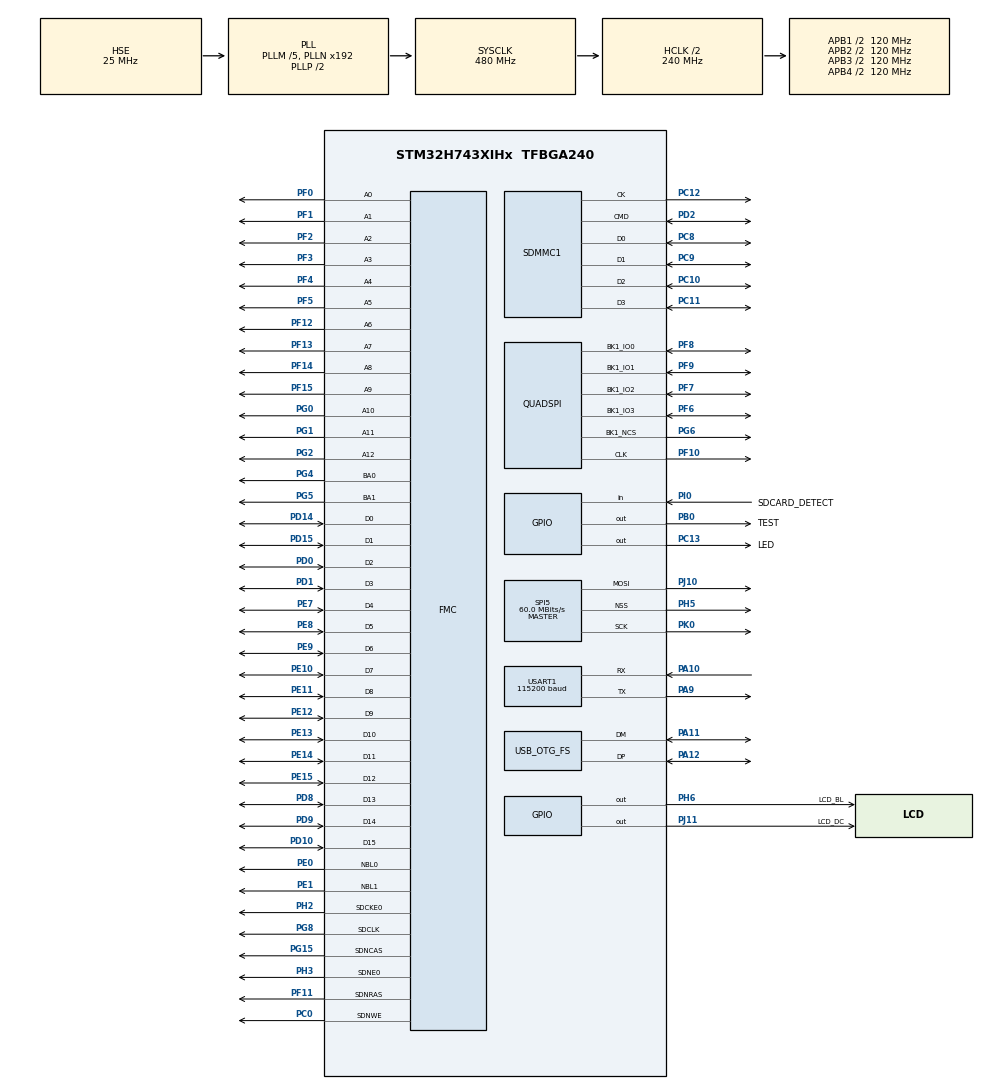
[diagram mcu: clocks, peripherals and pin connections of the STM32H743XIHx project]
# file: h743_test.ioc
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CORTEX_M7.CPU_DCache=Enabled
CORTEX_M7.CPU_ICache=Enabled
Dma.Request0=SPI5_TX
Dma.Request1=USART1_TX
Dma.SPI5_TX.0.Direction=DMA_MEMORY_TO_PERIPH
Dma.SPI5_TX.0.EventEnable=DISABLE
Dma.SPI5_TX.0.FIFOMode=DMA_FIFOMODE_DISABLE
Dma.SPI5_TX.0.Instance=DMA1_Stream0
Dma.SPI5_TX.0.MemDataAlignment=DMA_MDATAALIGN_HALFWORD
Dma.SPI5_TX.0.MemInc=DMA_MINC_ENABLE
Dma.SPI5_TX.0.Mode=DMA_NORMAL
Dma.SPI5_TX.0.PeriphDataAlignment=DMA_PDATAALIGN_HALFWORD
Dma.SPI5_TX.0.PeriphInc=DMA_PINC_DISABLE
Dma.SPI5_TX.0.Polarity=HAL_DMAMUX_REQ_GEN_RISING
Dma.SPI5_TX.0.Priority=DMA_PRIORITY_HIGH
Dma.SPI5_TX.0.RequestNumber=1
Dma.SPI5_TX.0.SignalID=NONE
Dma.SPI5_TX.0.SyncEnable=DISABLE
Dma.SPI5_TX.0.SyncPolarity=HAL_DMAMUX_SYNC_NO_EVENT
Dma.SPI5_TX.0.SyncRequestNumber=1
Dma.SPI5_TX.0.SyncSignalID=NONE
Dma.USART1_TX.1.Direction=DMA_MEMORY_TO_PERIPH
Dma.USART1_TX.1.EventEnable=DISABLE
Dma.USART1_TX.1.FIFOMode=DMA_FIFOMODE_DISABLE
Dma.USART1_TX.1.Instance=DMA1_Stream1
Dma.USART1_TX.1.MemDataAlignment=DMA_MDATAALIGN_BYTE
Dma.USART1_TX.1.MemInc=DMA_MINC_ENABLE
Dma.USART1_TX.1.Mode=DMA_NORMAL
Dma.USART1_TX.1.PeriphDataAlignment=DMA_PDATAALIGN_BYTE
Dma.USART1_TX.1.PeriphInc=DMA_PINC_DISABLE
Dma.USART1_TX.1.Polarity=HAL_DMAMUX_REQ_GEN_RISING
Dma.USART1_TX.1.Priority=DMA_PRIORITY_LOW
Dma.USART1_TX.1.RequestNumber=1
Dma.USART1_TX.1.SignalID=NONE
Dma.USART1_TX.1.SyncEnable=DISABLE
Dma.USART1_TX.1.SyncPolarity=HAL_DMAMUX_SYNC_NO_EVENT
Dma.USART1_TX.1.SyncRequestNumber=1
Dma.USART1_TX.1.SyncSignalID=NONE
FATFS.BSP.number=1
FATFS.USE_DMA_CODE_SD=1
FATFS0.BSP.STBoard=false
FATFS0.BSP.api=Unknown
FATFS0.BSP.instance=PI0
FATFS0.BSP.ip=GPIO
FATFS0.BSP.mode=Input
FATFS0.BSP.name=Detect_SDIO
FATFS0.BSP.solution=PI0
FMC.CASLatency1=FMC_SDRAM_CAS_LATENCY_3
FMC.ColumnBitsNumber1=FMC_SDRAM_COLUMN_BITS_NUM_9
FMC.ExitSelfRefreshDelay1=7
FMC.LoadToActiveDelay1=2
FMC.RCDDelay1=2
FMC.RPDelay1=2
FMC.RPDelay2=2
FMC.ReadBurst1=FMC_SDRAM_RBURST_ENABLE
FMC.ReadBurst2=FMC_SDRAM_RBURST_ENABLE
FMC.ReadPipeDelay1=FMC_SDRAM_RPIPE_DELAY_1
FMC.ReadPipeDelay2=FMC_SDRAM_RPIPE_DELAY_1
FMC.RowCycleDelay1=7
FMC.RowCycleDelay2=7
FMC.SDClockPeriod1=FMC_SDRAM_CLOCK_PERIOD_2
FMC.SDClockPeriod2=FMC_SDRAM_CLOCK_PERIOD_2
FMC.SelfRefreshTime1=4
FMC.WriteRecoveryTime1=3
FREERTOS.Tasks01=defaultTask,24,128,StartDefaultTask,Default,NULL,Dynamic,NULL,NULL;myTask0,8,2048,StartTask0,Default,NULL,Dynamic,NULL,NULL
FREERTOS.configUSE_NEWLIB_REENTRANT=0
FREERTOS.configUSE_TICK_HOOK=1
Mcu.Family=STM32H7
Mcu.Name=STM32H743XIHx
Mcu.Package=TFBGA240
NVIC.DMA1_Stream0_IRQn=true\:5\:0\:false\:false\:true\:true\:false\:true\:true
NVIC.DMA1_Stream1_IRQn=true\:5\:0\:false\:false\:true\:true\:false\:true\:true
NVIC.OTG_FS_EP1_IN_IRQn=true\:5\:0\:false\:false\:true\:true\:true\:true\:true
NVIC.OTG_FS_EP1_OUT_IRQn=true\:5\:0\:false\:false\:true\:true\:true\:true\:true
NVIC.OTG_FS_IRQn=true\:5\:0\:false\:false\:true\:true\:false\:true\:true
NVIC.PriorityGroup=NVIC_PRIORITYGROUP_4
NVIC.SDMMC1_IRQn=true\:5\:0\:false\:false\:true\:true\:true\:true\:true
NVIC.SPI5_IRQn=true\:5\:0\:false\:false\:true\:true\:true\:true\:true
NVIC.TIM1_UP_IRQn=true\:15\:0\:false\:false\:true\:false\:false\:true\:true
NVIC.TimeBase=TIM1_UP_IRQn
NVIC.TimeBaseIP=TIM1
NVIC.USART1_IRQn=true\:5\:0\:false\:false\:true\:true\:true\:true\:true
PA10.Mode=Asynchronous
PA10.Signal=USART1_RX
PA11.Mode=Device_Only
PA11.Signal=USB_OTG_FS_DM
PA12.Mode=Device_Only
PA12.Signal=USB_OTG_FS_DP
PA13\ (JTMS/SWDIO).Mode=Serial_Wire
PA13\ (JTMS/SWDIO).Signal=DEBUG_JTMS-SWDIO
PA14\ (JTCK/SWCLK).Mode=Serial_Wire
PA14\ (JTCK/SWCLK).Signal=DEBUG_JTCK-SWCLK
PA9.Mode=Asynchronous
PA9.Signal=USART1_TX
PB0.GPIO_Label=TEST
PB0.GPIO_Speed=GPIO_SPEED_FREQ_VERY_HIGH
PB0.Signal=GPIO_Output
PC0.Signal=FMC_SDNWE
PC10.Mode=SD_4_bits_Wide_bus
PC10.Signal=SDMMC1_D2
PC11.Mode=SD_4_bits_Wide_bus
PC11.Signal=SDMMC1_D3
PC12.Mode=SD_4_bits_Wide_bus
PC12.Signal=SDMMC1_CK
PC13.GPIO_Label=LED
PC13.Signal=GPIO_Output
PC14-OSC32_IN\ (OSC32_IN).Mode=LSE-External-Oscillator
PC14-OSC32_IN\ (OSC32_IN).Signal=RCC_OSC32_IN
PC15-OSC32_OUT\ (OSC32_OUT).Mode=LSE-External-Oscillator
PC15-OSC32_OUT\ (OSC32_OUT).Signal=RCC_OSC32_OUT
PC8.Mode=SD_4_bits_Wide_bus
PC8.Signal=SDMMC1_D0
PC9.Mode=SD_4_bits_Wide_bus
PC9.Signal=SDMMC1_D1
PD0.Signal=FMC_D2_DA2
PD1.Signal=FMC_D3_DA3
PD10.Signal=FMC_D15_DA15
PD14.Signal=FMC_D0_DA0
PD15.Signal=FMC_D1_DA1
PD2.Mode=SD_4_bits_Wide_bus
PD2.Signal=SDMMC1_CMD
PD8.Signal=FMC_D13_DA13
PD9.Signal=FMC_D14_DA14
PE0.Signal=FMC_NBL0
PE1.Signal=FMC_NBL1
PE10.Signal=FMC_D7_DA7
PE11.Signal=FMC_D8_DA8
PE12.Signal=FMC_D9_DA9
PE13.Signal=FMC_D10_DA10
PE14.Signal=FMC_D11_DA11
PE15.Signal=FMC_D12_DA12
PE7.Signal=FMC_D4_DA4
PE8.Signal=FMC_D5_DA5
PE9.Signal=FMC_D6_DA6
PF0.Signal=FMC_A0
PF1.Signal=FMC_A1
PF10.GPIO_Speed=GPIO_SPEED_FREQ_VERY_HIGH
PF10.Mode=Single Bank 1
PF10.Signal=QUADSPI_CLK
PF11.Signal=FMC_SDNRAS
PF12.Signal=FMC_A6
PF13.Signal=FMC_A7
PF14.Signal=FMC_A8
PF15.Signal=FMC_A9
PF2.Signal=FMC_A2
PF3.Signal=FMC_A3
PF4.Signal=FMC_A4
PF5.Signal=FMC_A5
PF6.GPIO_Speed=GPIO_SPEED_FREQ_VERY_HIGH
PF6.Mode=Single Bank 1
PF6.Signal=QUADSPI_BK1_IO3
PF7.GPIO_Speed=GPIO_SPEED_FREQ_VERY_HIGH
PF7.Mode=Single Bank 1
PF7.Signal=QUADSPI_BK1_IO2
PF8.GPIO_Speed=GPIO_SPEED_FREQ_VERY_HIGH
PF8.Mode=Single Bank 1
PF8.Signal=QUADSPI_BK1_IO0
PF9.GPIO_Speed=GPIO_SPEED_FREQ_VERY_HIGH
PF9.Mode=Single Bank 1
PF9.Signal=QUADSPI_BK1_IO1
PG0.Signal=FMC_A10
PG1.Signal=FMC_A11
PG15.Signal=FMC_SDNCAS
PG2.Signal=FMC_A12
PG4.Signal=FMC_A14_BA0
PG5.Signal=FMC_A15_BA1
PG6.GPIO_Speed=GPIO_SPEED_FREQ_VERY_HIGH
PG6.Mode=Single Bank 1
PG6.Signal=QUADSPI_BK1_NCS
PG8.Signal=FMC_SDCLK
PH0-OSC_IN\ (PH0).Mode=HSE-External-Oscillator
PH0-OSC_IN\ (PH0).Signal=RCC_OSC_IN
PH1-OSC_OUT\ (PH1).Mode=HSE-External-Oscillator
PH1-OSC_OUT\ (PH1).Signal=RCC_OSC_OUT
PH2.Mode=SdramChipSelect1_1
PH2.Signal=FMC_SDCKE0
PH3.Mode=SdramChipSelect1_1
PH3.Signal=FMC_SDNE0
PH5.GPIO_Speed=GPIO_SPEED_FREQ_VERY_HIGH
PH5.Mode=NSS_Signal_Hard_Output
PH5.Signal=SPI5_NSS
PH6.GPIO_Label=LCD_BL
PH6.Signal=GPIO_Output
PI0.GPIO_Label=SDCARD_DETECT
PI0.GPIO_PuPd=GPIO_PULLDOWN
PI0.Signal=GPIO_Input
PJ10.GPIO_Speed=GPIO_SPEED_FREQ_VERY_HIGH
PJ10.Mode=TX_Only_Simplex_Unidirect_Master
PJ10.Signal=SPI5_MOSI
PJ11.GPIO_Label=LCD_DC
PJ11.Signal=GPIO_Output
PK0.GPIO_Speed=GPIO_SPEED_FREQ_VERY_HIGH
PK0.Mode=TX_Only_Simplex_Unidirect_Master
PK0.Signal=SPI5_SCK
ProjectManager.HeapSize=0x200
ProjectManager.StackSize=0x400
ProjectManager.TargetToolchain=MDK-ARM V5.32
QUADSPI.ClockMode=QSPI_CLOCK_MODE_3
QUADSPI.ClockPrescaler=1
QUADSPI.FifoThreshold=32
QUADSPI.FlashSize=22
QUADSPI.SampleShifting=QSPI_SAMPLE_SHIFTING_HALFCYCLE
RCC.ADCFreq_Value=50390625
RCC.APB1Freq_Value=120000000
RCC.APB2Freq_Value=120000000
RCC.APB3Freq_Value=120000000
RCC.APB4Freq_Value=120000000
RCC.CortexFreq_Value=480000000
RCC.D1PPRE=RCC_APB3_DIV2
RCC.D2PPRE1=RCC_APB1_DIV2
RCC.D2PPRE2=RCC_APB2_DIV2
RCC.D3PPRE=RCC_APB4_DIV2
RCC.DIVM1=5
RCC.DIVN1=192
RCC.DIVQ1=4
RCC.HCLKFreq_Value=240000000
RCC.HPRE=RCC_HCLK_DIV2
RCC.PLL2FRACN=0
RCC.PLL3FRACN=0
RCC.PLLFRACN=0
RCC.PLLSourceVirtual=RCC_PLLSOURCE_HSE
RCC.SYSCLKFreq_VALUE=480000000
RCC.SYSCLKSource=RCC_SYSCLKSOURCE_PLLCLK
RCC.USBCLockSelection=RCC_USBCLKSOURCE_HSI48
RCC.USBFreq_Value=48000000
RTC.Date=16
RTC.Hours=11
RTC.Minutes=10
RTC.Month=RTC_MONTH_AUGUST
RTC.Seconds=30
RTC.WeekDay=RTC_WEEKDAY_THURSDAY
RTC.Year=18
SDMMC1.ClockDiv=1
SH.FMC_A0.0=FMC_A0,13b-sda1
SH.FMC_A1.0=FMC_A1,13b-sda1
SH.FMC_A10.0=FMC_A10,13b-sda1
SH.FMC_A11.0=FMC_A11,13b-sda1
SH.FMC_A12.0=FMC_A12,13b-sda1
SH.FMC_A14_BA0.0=FMC_BA0,FourSdramBanks1
SH.FMC_A15_BA1.0=FMC_BA1,FourSdramBanks1
SH.FMC_A2.0=FMC_A2,13b-sda1
SH.FMC_A3.0=FMC_A3,13b-sda1
SH.FMC_A4.0=FMC_A4,13b-sda1
SH.FMC_A5.0=FMC_A5,13b-sda1
SH.FMC_A6.0=FMC_A6,13b-sda1
SH.FMC_A7.0=FMC_A7,13b-sda1
SH.FMC_A8.0=FMC_A8,13b-sda1
SH.FMC_A9.0=FMC_A9,13b-sda1
SH.FMC_D0_DA0.0=FMC_D0,sd-16b-d1
SH.FMC_D10_DA10.0=FMC_D10,sd-16b-d1
SH.FMC_D11_DA11.0=FMC_D11,sd-16b-d1
SH.FMC_D12_DA12.0=FMC_D12,sd-16b-d1
SH.FMC_D13_DA13.0=FMC_D13,sd-16b-d1
SH.FMC_D14_DA14.0=FMC_D14,sd-16b-d1
SH.FMC_D15_DA15.0=FMC_D15,sd-16b-d1
SH.FMC_D1_DA1.0=FMC_D1,sd-16b-d1
SH.FMC_D2_DA2.0=FMC_D2,sd-16b-d1
SH.FMC_D3_DA3.0=FMC_D3,sd-16b-d1
SH.FMC_D4_DA4.0=FMC_D4,sd-16b-d1
SH.FMC_D5_DA5.0=FMC_D5,sd-16b-d1
SH.FMC_D6_DA6.0=FMC_D6,sd-16b-d1
SH.FMC_D7_DA7.0=FMC_D7,sd-16b-d1
SH.FMC_D8_DA8.0=FMC_D8,sd-16b-d1
SH.FMC_D9_DA9.0=FMC_D9,sd-16b-d1
SH.FMC_NBL0.0=FMC_NBL0,Sd2ByteEnable1
SH.FMC_NBL1.0=FMC_NBL1,Sd2ByteEnable1
SH.FMC_SDCLK.0=FMC_SDCLK,13b-sda1
SH.FMC_SDNCAS.0=FMC_SDNCAS,13b-sda1
SH.FMC_SDNRAS.0=FMC_SDNRAS,13b-sda1
SH.FMC_SDNWE.0=FMC_SDNWE,13b-sda1
SPI5.BaudRatePrescaler=SPI_BAUDRATEPRESCALER_2
SPI5.CalculateBaudRate=60.0 MBits/s
SPI5.DataSize=SPI_DATASIZE_8BIT
SPI5.Direction=SPI_DIRECTION_2LINES_TXONLY
SPI5.FifoThreshold=SPI_FIFO_THRESHOLD_02DATA
SPI5.Mode=SPI_MODE_MASTER
SPI5.VirtualNSS=VM_NSSHARD
SPI5.VirtualType=VM_MASTER
USART1.BaudRate=115200
USART1.VirtualMode-Asynchronous=VM_ASYNC
USB_DEVICE.APP_RX_DATA_SIZE-CDC_FS=2048
USB_DEVICE.APP_TX_DATA_SIZE-CDC_FS=2048
USB_DEVICE.CLASS_NAME_FS=CDC
USB_DEVICE.USBD_DEBUG_LEVEL-CDC_FS=3
USB_DEVICE.USBD_MAX_NUM_CONFIGURATION-CDC_FS=1
USB_DEVICE.USBD_MAX_NUM_INTERFACES-CDC_FS=1
USB_DEVICE.VirtualMode-CDC_FS=Cdc
USB_DEVICE.VirtualModeFS=Cdc_FS
USB_OTG_FS.VirtualMode=Device_Only
VP_FATFS_VS_SDIO.Mode=SDIO
VP_FREERTOS_VS_CMSIS_V2.Mode=CMSIS_V2
VP_RTC_VS_RTC_Activate.Mode=RTC_Enabled
VP_RTC_VS_RTC_Calendar.Mode=RTC_Calendar
VP_SYS_VS_tim1.Mode=TIM1
VP_USB_DEVICE_VS_USB_DEVICE_CDC_FS.Mode=CDC_FS
board=custom

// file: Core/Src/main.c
/* USER CODE BEGIN Header */
/**
 ******************************************************************************
 * @file           : main.c
 * @brief          : Main program body
 ******************************************************************************
 * @attention
 *
 * Copyright (c) 2024 STMicroelectronics.
 * All rights reserved.
 *
 * This software is licensed under terms that can be found in the LICENSE file
 * in the root directory of this software component.
 * If no LICENSE file comes with this software, it is provided AS-IS.
 *
 ******************************************************************************
 */
/* USER CODE END Header */
#include "main.h"
#include "cmsis_os.h"
#include "dma.h"
#include "fatfs.h"
#include "quadspi.h"
#include "rtc.h"
#include "sdmmc.h"
#include "spi.h"
#include "usart.h"
#include "usb_device.h"
#include "gpio.h"
#include "fmc.h"

/* USER CODE BEGIN Includes */
#include "stdio.h"
#include "user_sdram.h"
#include "qspi_w25q64.h"
#include "lcd_spi_200.h"
#include "self_inspection.h"
#include "debug.h"
/* USER CODE END Includes */

void SystemClock_Config(void);
void MX_FREERTOS_Init(void);

int main(void)
{
/* Enable the CPU Cache */

  /* Enable I-Cache---------------------------------------------------------*/
  SCB_EnableICache();

  /* Enable D-Cache---------------------------------------------------------*/
  SCB_EnableDCache();

  /* MCU Configuration--------------------------------------------------------*/

  /* Reset of all peripherals, Initializes the Flash interface and the Systick. */
  HAL_Init();

  /* Configure the system clock */
  SystemClock_Config();

  /* Initialize all configured peripherals */
  MX_GPIO_Init();
  MX_DMA_Init();
  MX_FATFS_Init();
  MX_FMC_Init();
  MX_QUADSPI_Init();
  MX_SPI5_Init();
  MX_USART1_UART_Init();
  MX_SDMMC1_SD_Init();
  MX_RTC_Init();

  /* Init scheduler */
  osKernelInitialize();

  /* Call init function for freertos objects (in freertos.c) */
  MX_FREERTOS_Init();

  /* Start scheduler */
  osKernelStart();

  /* We should never get here as control is now taken by the scheduler */
  /* Infinite loop */
  while (1)
  {

  }
}

void SystemClock_Config(void)
{
  RCC_OscInitTypeDef RCC_OscInitStruct = {0};
  RCC_ClkInitTypeDef RCC_ClkInitStruct = {0};

  /** Supply configuration update enable
  */
  HAL_PWREx_ConfigSupply(PWR_LDO_SUPPLY);

  /** Configure the main internal regulator output voltage
  */
  __HAL_PWR_VOLTAGESCALING_CONFIG(PWR_REGULATOR_VOLTAGE_SCALE1);

  while(!__HAL_PWR_GET_FLAG(PWR_FLAG_VOSRDY)) {}

  __HAL_RCC_SYSCFG_CLK_ENABLE();
  __HAL_PWR_VOLTAGESCALING_CONFIG(PWR_REGULATOR_VOLTAGE_SCALE0);

  while(!__HAL_PWR_GET_FLAG(PWR_FLAG_VOSRDY)) {}

  /** Initializes the RCC Oscillators according to the specified parameters
  * in the RCC_OscInitTypeDef structure.
  */
  RCC_OscInitStruct.OscillatorType = RCC_OSCILLATORTYPE_HSI48|RCC_OSCILLATORTYPE_LSI
                              |RCC_OSCILLATORTYPE_HSE;
  RCC_OscInitStruct.HSEState = RCC_HSE_ON;
  RCC_OscInitStruct.LSIState = RCC_LSI_ON;
  RCC_OscInitStruct.HSI48State = RCC_HSI48_ON;
  RCC_OscInitStruct.PLL.PLLState = RCC_PLL_ON;
  RCC_OscInitStruct.PLL.PLLSource = RCC_PLLSOURCE_HSE;
  RCC_OscInitStruct.PLL.PLLM = 5;
  RCC_OscInitStruct.PLL.PLLN = 192;
  RCC_OscInitStruct.PLL.PLLP = 2;
  RCC_OscInitStruct.PLL.PLLQ = 4;
  RCC_OscInitStruct.PLL.PLLR = 2;
  RCC_OscInitStruct.PLL.PLLRGE = RCC_PLL1VCIRANGE_2;
  RCC_OscInitStruct.PLL.PLLVCOSEL = RCC_PLL1VCOWIDE;
  RCC_OscInitStruct.PLL.PLLFRACN = 0;
  if (HAL_RCC_OscConfig(&RCC_OscInitStruct) != HAL_OK)
  {
    Error_Handler();
  }

  /** Initializes the CPU, AHB and APB buses clocks
  */
  RCC_ClkInitStruct.ClockType = RCC_CLOCKTYPE_HCLK|RCC_CLOCKTYPE_SYSCLK
                              |RCC_CLOCKTYPE_PCLK1|RCC_CLOCKTYPE_PCLK2
                              |RCC_CLOCKTYPE_D3PCLK1|RCC_CLOCKTYPE_D1PCLK1;
  RCC_ClkInitStruct.SYSCLKSource = RCC_SYSCLKSOURCE_PLLCLK;
  RCC_ClkInitStruct.SYSCLKDivider = RCC_SYSCLK_DIV1;
  RCC_ClkInitStruct.AHBCLKDivider = RCC_HCLK_DIV2;
  RCC_ClkInitStruct.APB3CLKDivider = RCC_APB3_DIV2;
  RCC_ClkInitStruct.APB1CLKDivider = RCC_APB1_DIV2;
  RCC_ClkInitStruct.APB2CLKDivider = RCC_APB2_DIV2;
  RCC_ClkInitStruct.APB4CLKDivider = RCC_APB4_DIV2;

  if (HAL_RCC_ClockConfig(&RCC_ClkInitStruct, FLASH_LATENCY_4) != HAL_OK)
  {
    Error_Handler();
  }
}

/* USER CODE BEGIN 4 */

extern void disp_tx_cb(void);

void HAL_SPI_TxCpltCallback(SPI_HandleTypeDef *hspi)
{
  if (hspi->Instance == SPI5)
  {
    disp_tx_cb();
  }

}

void HAL_UART_TxCpltCallback(UART_HandleTypeDef *huart)
{
  if (huart->Instance == USART1)
  {
    debug_tx_cb();
  }
}

/* USER CODE END 4 */

void HAL_TIM_PeriodElapsedCallback(TIM_HandleTypeDef *htim)
{
  if (htim->Instance == TIM1) {
    HAL_IncTick();
  }
}

void Error_Handler(void)
{
  __disable_irq();
  while (1)
  {
  }
}

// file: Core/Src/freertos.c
/* USER CODE BEGIN Header */
/**
 ******************************************************************************
 * File Name          : freertos.c
 * Description        : Code for freertos applications
 ******************************************************************************
 * @attention
 *
 * Copyright (c) 2024 STMicroelectronics.
 * All rights reserved.
 *
 * This software is licensed under terms that can be found in the LICENSE file
 * in the root directory of this software component.
 * If no LICENSE file comes with this software, it is provided AS-IS.
 *
 ******************************************************************************
 */
/* USER CODE END Header */

#include "FreeRTOS.h"
#include "task.h"
#include "main.h"
#include "cmsis_os.h"

/* USER CODE BEGIN Includes */
#include "stdio.h"
#include "fatfs.h"
#include "lvgl.h"
#include "usbd_cdc_if.h"
#include "fmc.h"
#include "debug.h"
#include "user_sdram.h"
#include "qspi_w25q64.h"
#include "lcd_spi_200.h"
#include "self_inspection.h"
#include "rtc.h"
#include "lv_port_lcd_stm32_template.h"
/* USER CODE END Includes */

/* USER CODE BEGIN PD */
#define DISPLAY_WIDTH 480
/*Static or global buffer(s). The second buffer is optional*/
#define BYTE_PER_PIXEL 2 //(LV_COLOR_FORMAT_GET_SIZE(LV_COLOR_FORMAT_RGB565)) /*will be 2 for RGB565 */
// TODO: Declare your own BUFF_SIZE appropriate to your system.
//#define BUFF_SIZE (DISPLAY_WIDTH * 10 * BYTE_PER_PIXEL)
//static uint8_t buf_1[BUFF_SIZE] __attribute__((aligned(32)));
//static uint8_t buf_2[BUFF_SIZE] __attribute__((aligned(32)));
/* USER CODE END PD */

/* Definitions for defaultTask */
osThreadId_t defaultTaskHandle;
const osThreadAttr_t defaultTask_attributes = {
  .name = "defaultTask",
  .stack_size = 128 * 4,
  .priority = (osPriority_t) osPriorityNormal,
};
/* Definitions for myTask0 */
osThreadId_t myTask0Handle;
const osThreadAttr_t myTask0_attributes = {
  .name = "myTask0",
  .stack_size = 2048 * 4,
  .priority = (osPriority_t) osPriorityLow,
};

/* USER CODE BEGIN FunctionPrototypes */
extern void my_disp_flush(lv_display_t *disp, const lv_area_t *area, uint16_t *px_map);

uint8_t FatFs_FileTest(void)
{
  uint8_t i = 0;
  uint16_t BufferSize = 0;
  FIL MyFile;
  UINT MyFile_Num;
  BYTE MyFile_WriteBuffer[] = "STM32H743 SD card test";
  BYTE MyFile_ReadBuffer[64];
  FRESULT MyFile_Res;

  log_info("-------------FatFs file creat and write test---------------\r\n");

  MyFile_Res = f_open(&MyFile, "0:/2.txt", FA_CREATE_ALWAYS | FA_WRITE);
  if (MyFile_Res == FR_OK)
  {
    log_info("file open success, ready to write...\r\n");

    MyFile_Res = f_write(&MyFile, MyFile_WriteBuffer, sizeof(MyFile_WriteBuffer), &MyFile_Num);
    if (MyFile_Res == FR_OK)
    {
      log_info("write success, content:\r\n");
      log_info("%s\r\n", MyFile_WriteBuffer);
    }
    else
    {
      log_info("file write fail!\r\n");
      f_close(&MyFile);
      return ERROR;
    }
    f_close(&MyFile);
  }
  else
  {
    log_info("Cannot creat/open file! %d\r\n", MyFile_Res);
    f_close(&MyFile);
    return ERROR;
  }

  log_info("-------------FatFs file read test---------------\r\n");

  BufferSize = sizeof(MyFile_WriteBuffer) / sizeof(BYTE);
  MyFile_Res = f_open(&MyFile, "0:/2.txt", FA_OPEN_EXISTING | FA_READ);
  MyFile_Res = f_read(&MyFile, MyFile_ReadBuffer, BufferSize, &MyFile_Num);
  if (MyFile_Res == FR_OK)
  {
    log_info("file read success...\r\n");

    for (i = 0; i < BufferSize; i++)
    {
      if (MyFile_WriteBuffer[i] != MyFile_ReadBuffer[i])
      {
        log_info("Check fail\r\n");
        f_close(&MyFile);
        return ERROR;
      }
    }
    log_info("Check success, read content is:\r\n");
    log_info("%s\r\n", MyFile_ReadBuffer);
  }
  else
  {
    log_info("Cannot read file! \r\n");
    f_close(&MyFile);
    return ERROR;
  }

  f_close(&MyFile);
  return SUCCESS;
}
/* USER CODE END FunctionPrototypes */

void StartDefaultTask(void *argument);
void StartTask0(void *argument);

extern void MX_USB_DEVICE_Init(void);
void MX_FREERTOS_Init(void); /* (MISRA C 2004 rule 8.1) */

/* Hook prototypes */
void vApplicationTickHook(void);

/* USER CODE BEGIN 3 */
void vApplicationTickHook(void)
{
  /* This function will be called by each tick interrupt if
  configUSE_TICK_HOOK is set to 1 in FreeRTOSConfig.h. User code can be
  added here, but the tick hook is called from an interrupt context, so
  code must not attempt to block, and only the interrupt safe FreeRTOS API
  functions can be used (those that end in FromISR()). */

  lv_tick_inc(1); // lvgl heart beat
}

/* USER CODE END 3 */

void MX_FREERTOS_Init(void) {

  /* Create the thread(s) */
  /* creation of defaultTask */
  defaultTaskHandle = osThreadNew(StartDefaultTask, NULL, &defaultTask_attributes);

  /* creation of myTask0 */
  myTask0Handle = osThreadNew(StartTask0, NULL, &myTask0_attributes);

}

void StartDefaultTask(void *argument)
{
  /* init code for USB_DEVICE */
  MX_USB_DEVICE_Init();
  /* USER CODE BEGIN StartDefaultTask */
  /* Infinite loop */
  for (;;)
  {
    osDelay(1000);
    HAL_GPIO_TogglePin(LED_GPIO_Port, LED_Pin);

    //CDC_Transmit_FS("Hello world\n", 12);

    // RTC_TimeTypeDef time;
    // RTC_DateTypeDef date;
    // HAL_RTC_GetTime(&hrtc, &time, RTC_FORMAT_BCD);
    // HAL_RTC_GetDate(&hrtc, &date, RTC_FORMAT_BCD);
    // log_info("%d/%d/%d  %d:%d:%d\n", date.Year, date.Month, date.Date, time.Hours, time.Minutes, time.Seconds);
  }
  /* USER CODE END StartDefaultTask */
}

void StartTask0(void *argument)
{
  /* USER CODE BEGIN StartTask0 */
  // FRESULT res;
  // res = f_mount(&SDFatFS, "0:/", 1);
  // if (res == FR_OK)
  // {
  // 	log_info("mount file system succes\n");

  // 	FatFs_FileTest();
  // }
  // else
  // {
  // 	log_info("mount file system fail, error code: %d\n", res);
  // }

  debug_init();
  log_info("Hello STM32H743_TEST, %s %s\n", __DATE__, __TIME__);
  QSPI_W25Qxx_Init();
  SDRAM_Initialization_Sequence(&hsdram1);

  user_peripheral_self_inspection();

  // GUI init
  lv_init();
  //lv_display_t *display = lv_display_create(320, 240);                                          /*Create the display*/
  //lv_display_set_flush_cb(display, my_disp_flush);                                              /*Set a flush callback to draw to the display*/
  //lv_display_set_buffers(display, buf_1, buf_2, sizeof(buf_1), LV_DISPLAY_RENDER_MODE_PARTIAL); /*Set an initialized buffer*/
  lv_port_disp_init();

  // Change the active screen's background color
  //lv_obj_set_style_bg_color(lv_screen_active(), lv_color_hex(0x003a57), LV_PART_MAIN);
  //lv_obj_set_style_text_color(lv_screen_active(), lv_color_hex(0xffffff), LV_PART_MAIN);

  /*Create a spinner*/
  lv_obj_t *spinner = lv_spinner_create(lv_screen_active());
  lv_obj_set_size(spinner, 100, 100);
  // lv_obj_align(spinner, LV_ALIGN_TOP_MID, 0, 0);
  lv_obj_center(spinner);
  lv_spinner_set_anim_params(spinner, 10000, 200);

  static lv_style_t style_bg;
  static lv_style_t style_indic;

  lv_style_init(&style_bg);
  lv_style_set_border_color(&style_bg, lv_palette_main(LV_PALETTE_RED));
  lv_style_set_border_width(&style_bg, 2);
  lv_style_set_pad_all(&style_bg, 6); /*To make the indicator smaller*/
  lv_style_set_radius(&style_bg, 6);
  lv_style_set_anim_duration(&style_bg, 1000);

  lv_style_init(&style_indic);
  lv_style_set_bg_opa(&style_indic, LV_OPA_COVER);
  lv_style_set_bg_color(&style_indic, lv_palette_main(LV_PALETTE_RED));
  lv_style_set_radius(&style_indic, 3);

  lv_obj_t *bar = lv_bar_create(lv_screen_active());
  lv_obj_remove_style_all(bar); /*To have a clean start*/
  lv_obj_add_style(bar, &style_bg, 0);
  lv_obj_add_style(bar, &style_indic, LV_PART_INDICATOR);

  lv_obj_set_size(bar, 200, 40);
  // lv_obj_center(bar);
  lv_obj_align(bar, LV_ALIGN_CENTER, 0, -100);
  lv_bar_set_value(bar, 0, LV_ANIM_ON);

  static uint16_t x = 0;
  /* Infinite loop */
  for (;;)
  {
    osDelay(10);
    lv_task_handler();

    x++;
    if (x > 500)
    {
      x = 0;
    }
    lv_bar_set_value(bar, x / 5, LV_ANIM_ON);
  }
  /* USER CODE END StartTask0 */
}
